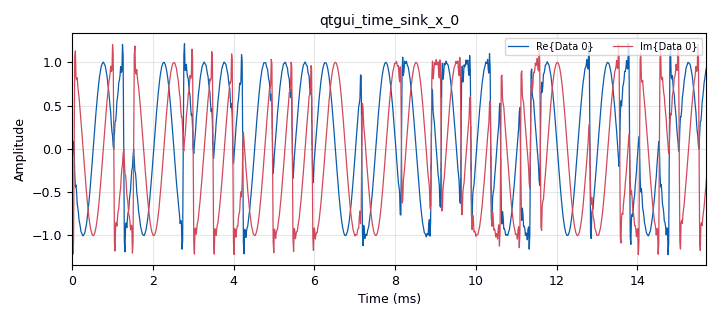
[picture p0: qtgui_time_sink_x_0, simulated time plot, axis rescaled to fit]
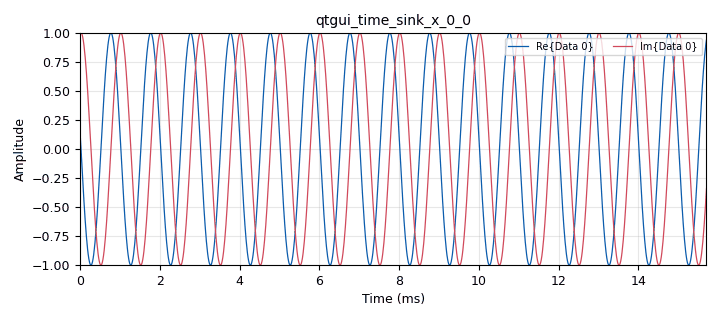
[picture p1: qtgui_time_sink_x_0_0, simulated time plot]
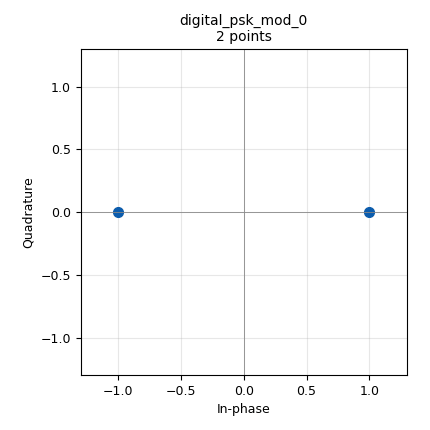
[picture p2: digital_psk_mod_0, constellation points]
options:
  parameters:
    author: sarah
    generate_options: qt_gui
    id: transmitter_setup
    output_language: python
    title: Transmitter setup
  states: {}

blocks:
- name: samp_rate
  id: variable
  parameters:
    value: '65105'
  states: {}
- name: analog_random_source_x_0
  id: analog_random_source_x
  parameters:
    max: '2'
    min: '0'
    num_samps: '1000'
    repeat: 'True'
    type: byte
  states: {}
- name: analog_sig_source_x_0
  id: analog_sig_source_x
  parameters:
    amp: '1'
    freq: '1000'
    offset: '0'
    phase: '0'
    samp_rate: samp_rate
    type: complex
    waveform: analog.GR_COS_WAVE
  states: {}
- name: blocks_multiply_xx_0
  id: blocks_multiply_xx
  parameters:
    type: complex
  states: {}
- name: digital_psk_mod_0
  id: digital_psk_mod
  parameters:
    constellation_points: '2'
    differential: 'True'
    excess_bw: '0.35'
    mod_code: '"none"'
    samples_per_symbol: '2'
  states: {}
- name: iio_pluto_sink_0
  id: iio_pluto_sink
  parameters:
    attenuation1: '10.0'
    bandwidth: '20000000'
    buffer_size: '32768'
    cyclic: 'False'
    filter_source: '''Auto'''
    frequency: '1575420000'
    samplerate: samp_rate
    type: fc32
  states: {}
- name: qtgui_time_sink_x_0
  id: qtgui_time_sink_x
  parameters:
    size: '1024'
    srate: samp_rate
    type: complex
  states: {}
- name: qtgui_time_sink_x_0_0
  id: qtgui_time_sink_x
  parameters:
    size: '1024'
    srate: samp_rate
    type: complex
  states: {}

connections:
- [analog_random_source_x_0, '0', digital_psk_mod_0, '0']
- [analog_sig_source_x_0, '0', blocks_multiply_xx_0, '1']
- [analog_sig_source_x_0, '0', iio_pluto_sink_0, '0']
- [analog_sig_source_x_0, '0', qtgui_time_sink_x_0_0, '0']
- [blocks_multiply_xx_0, '0', qtgui_time_sink_x_0, '0']
- [digital_psk_mod_0, '0', blocks_multiply_xx_0, '0']

metadata:
  file_format: 1
  grc_version: 3.10.9.2
